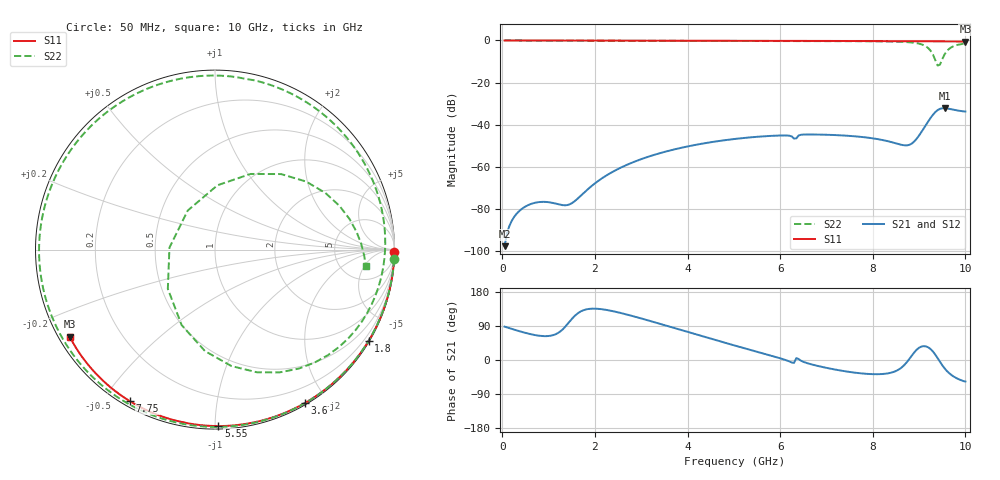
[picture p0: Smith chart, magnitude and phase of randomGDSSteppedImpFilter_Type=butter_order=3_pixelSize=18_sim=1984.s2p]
! freq	dB(S11)	phase(S11)	dB(S12)	phase(S12)
!  dB(S21)	phase(S21)	dB(S22)	phase(S22)
!S-par simulation data
#  GHz  S  DB  R 50
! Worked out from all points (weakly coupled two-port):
!   200 points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, 50 MHz to 10 GHz, reference 50 ohm
!   highest |S21| = -32.15 dB at 9.55 GHz (marker M1); lowest = -97.7 dB at 50 MHz (marker M2)
!   lowest |S11| = -0.5 dB at 10 GHz (marker M3), VSWR 34.64, Z = 1.55 - j13.8 ohm
!   |S11| at or under -10 dB: nowhere
!   |S22| runs from -11.9 to 0.0 dB; largest |S21 - S12| = 0
!   S11 on the Smith chart (normalised r, x): 50 MHz: open; 1.8 GHz: 0.03, -3.65; 3.6 GHz: 0.02, -1.74; 5.55 GHz: 0.02, -1.02; 7.75 GHz: 0.02, -0.59; 10 GHz: 0.03, -0.28
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0.05  -0.00 -0.9  -97.68 88.1  -97.68 88.1  -0.00 -3.2
0.95  -0.02 -16.3  -76.69 63.0  -76.69 63.0  -0.07 -57.4
1.4  -0.03 -24.0  -78.17 93.5  -78.17 93.5  -0.10 -82.2
1.75  -0.04 -29.8  -72.60 131.2  -72.60 131.2  -0.11 -100.1
1.8  -0.04 -30.7  -71.58 133.1  -71.58 133.1  -0.11 -102.5
2.6  -0.06 -43.8  -59.95 122.8  -59.95 122.8  -0.14 -138.9
3.4  -0.08 -56.6  -53.54 95.6  -53.54 95.6  -0.17 -171.3
3.6  -0.08 -59.7  -52.35 88.5  -52.35 88.5  -0.17 -178.9
4.3  -0.10 -70.5  -49.06 63.5  -49.06 63.5  -0.20 154.9
5.05  -0.13 -81.7  -46.69 37.1  -46.69 37.1  -0.23 127.4
5.55  -0.15 -88.9  -45.66 20.0  -45.66 20.0  -0.25 108.9
6.7  -0.20 -105.0  -44.65 -12.3  -44.65 -12.3  -0.29 65.6
7.75  -0.28 -119.2  -45.80 -35.3  -45.80 -35.3  -0.36 24.0
8.35  -0.33 -127.2  -47.95 -34.7  -47.95 -34.7  -0.49 -2.8
8.8  -0.37 -133.1  -49.48 4.6  -49.48 4.6  -0.89 -29.7
9.15  -0.40 -137.8  -40.06 35.8  -40.06 35.8  -2.83 -71.2
9.25  -0.41 -139.1  -36.73 28.7  -36.73 28.7  -4.91 -95.7
9.35  -0.42 -140.4  -34.01 14.2  -34.01 14.2  -9.32 -140.2
9.45  -0.44 -141.7  -32.48 -4.6  -32.48 -4.6  -11.52 124.9
9.55  -0.45 -143.1  -32.15 -21.9  -32.15 -21.9  -6.63 64.8
9.75  -0.47 -145.7  -32.91 -43.9  -32.91 -43.9  -2.67 19.3
10  -0.50 -149.1  -33.75 -56.8  -33.75 -56.8  -1.47 -6.1
